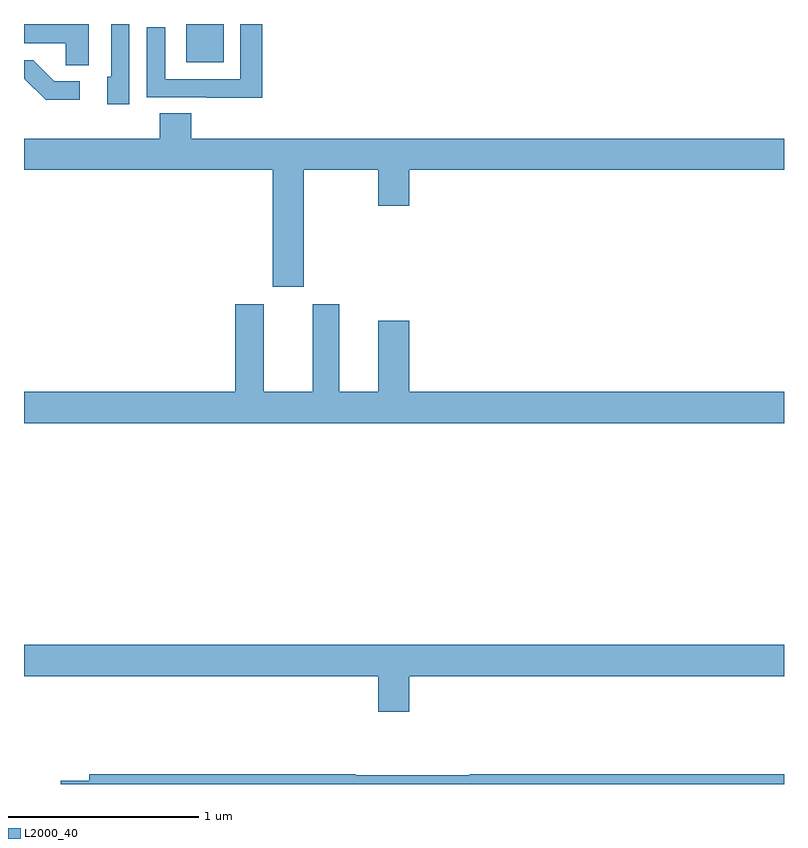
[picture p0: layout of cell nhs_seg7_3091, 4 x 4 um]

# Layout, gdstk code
import gdstk
lib = gdstk.Library(unit=1e-6, precision=1e-09)
def R(c, l, rs):  # rectangles x0, y0, x1, y1
    for r in rs: c.add(gdstk.rectangle(r[:2], r[2:], *l))
def P(c, l, *ps):  # polygons
    for p in ps: c.add(gdstk.Polygon(p, *l))
L2000_40 = (2000, 40)

nhs_seg7_3091 = lib.new_cell('nhs_seg7_3091')
R(nhs_seg7_3091, L2000_40, [(307.853,1051.799,308.05,1052)])
P(nhs_seg7_3091, L2000_40, [(307.554,1052),(307.458,1052),(307.458,1051.722),(307.439,1051.722),(307.439,1051.578),(307.554,1051.578)],
  [(308.255,1052),(308.139,1052),(308.139,1051.71),(307.743,1051.71),(307.743,1051.984),(307.647,1051.984),(307.647,1051.614),(307.963,1051.614),(307.963,1051.613),(308.255,1051.613)],
  [(307.342,1052),(307,1052),(307,1051.898),(307.221,1051.898),(307.221,1051.783),(307.342,1051.783)],
  [(307.294,1051.698),(307.159,1051.698),(307.048,1051.809),(307,1051.809),(307,1051.713),(307.002,1051.713),(307.115,1051.601),(307.294,1051.601)],
  [(308.473,1051.232),(308.864,1051.232),(308.864,1051.044),(309.028,1051.044),(309.028,1051.232),(311,1051.232),(311,1051.396),(307.88,1051.396),(307.88,1051.529),(307.715,1051.529),(307.715,1051.396),(307,1051.396),(307,1051.232),(308.309,1051.232),(308.309,1050.618),(308.473,1050.618)],
  [(311,1050.064),(309.028,1050.064),(309.028,1050.439),(308.864,1050.439),(308.864,1050.064),(308.659,1050.064),(308.659,1050.526),(308.519,1050.526),(308.519,1050.064),(308.263,1050.064),(308.263,1050.526),(308.111,1050.526),(308.111,1050.064),(307,1050.064),(307,1049.9),(311,1049.9)],
  [(309.028,1048.568),(311,1048.568),(311,1048.732),(307,1048.732),(307,1048.568),(308.864,1048.568),(308.864,1048.38),(309.028,1048.38)],
  [(311,1048.052),(309.347,1048.052),(309.347,1048.045),(308.747,1048.045),(308.747,1048.052),(307.343,1048.052),(307.343,1048.016),(307.194,1048.016),(307.194,1048),(311,1048)])

lib.write_gds('nhs_seg7_3091.gds')
